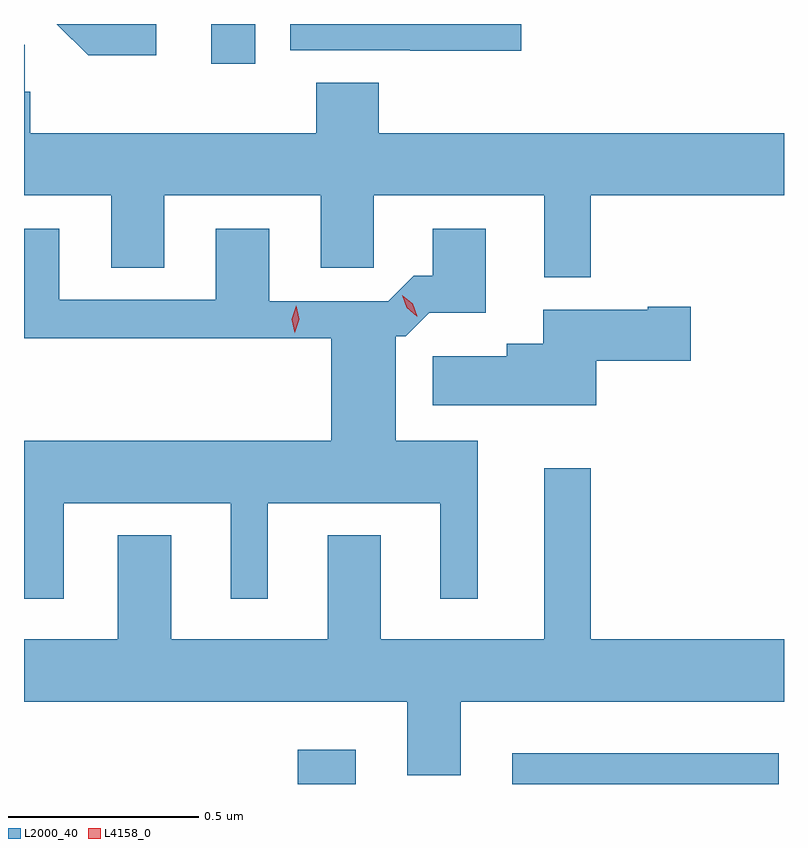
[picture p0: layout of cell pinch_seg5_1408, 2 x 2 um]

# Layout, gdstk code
import gdstk
lib = gdstk.Library(unit=1e-6, precision=1e-09)
def R(c, l, rs):  # rectangles x0, y0, x1, y1
    for r in rs: c.add(gdstk.rectangle(r[:2], r[2:], *l))
def P(c, l, *ps):  # polygons
    for p in ps: c.add(gdstk.Polygon(p, *l))
L2000_40 = (2000, 40)
L4158_0 = (4158, 0)

pinch_seg5_1408 = lib.new_cell('pinch_seg5_1408')
R(pinch_seg5_1408, L2000_40, [(339.857,892.507,340.009,892.597), (340.421,892.507,341.122,892.588), (339.629,894.402,339.744,894.507)])
P(pinch_seg5_1408, L2000_40, [(340.445,894.507),(339.837,894.507),(339.837,894.438),(340.153,894.438),(340.153,894.437),(340.445,894.437)],
  [(339.484,894.507),(339.222,894.507),(339.305,894.425),(339.484,894.425)],
  [(340.627,894.056),(341.136,894.056),(341.136,894.22),(340.07,894.22),(340.07,894.353),(339.905,894.353),(339.905,894.22),(339.152,894.22),(339.152,894.329),(339.138,894.329),(339.138,894.452),(339.136,894.452),(339.136,894.056),(339.365,894.056),(339.365,893.866),(339.505,893.866),(339.505,894.056),(339.917,894.056),(339.917,893.866),(340.056,893.866),(340.056,894.056),(340.505,894.056),(340.505,893.84),(340.627,893.84)],
  [(339.241,893.246),(339.68,893.246),(339.68,892.995),(339.778,892.995),(339.778,893.246),(340.232,893.246),(340.232,892.995),(340.33,892.995),(340.33,893.41),(340.114,893.41),(340.114,893.685),(340.14,893.685),(340.202,893.747),(340.351,893.747),(340.351,893.968),(340.211,893.968),(340.211,893.845),(340.162,893.845),(340.095,893.778),(339.781,893.778),(339.781,893.968),(339.641,893.968),(339.641,893.781),(339.229,893.781),(339.229,893.968),(339.136,893.968),(339.136,893.68),(339.944,893.68),(339.944,893.41),(339.136,893.41),(339.136,892.995),(339.241,892.995)],
  [(340.642,893.621),(340.891,893.621),(340.891,893.763),(340.778,893.763),(340.778,893.755),(340.502,893.755),(340.502,893.665),(340.406,893.665),(340.406,893.633),(340.212,893.633),(340.212,893.504),(340.642,893.504)],
  [(340.285,892.724),(341.136,892.724),(341.136,892.888),(340.627,892.888),(340.627,893.338),(340.505,893.338),(340.505,892.888),(340.075,892.888),(340.075,893.161),(339.935,893.161),(339.935,892.888),(339.523,892.888),(339.523,893.161),(339.383,893.161),(339.383,892.888),(339.136,892.888),(339.136,892.724),(340.145,892.724),(340.145,892.53),(340.285,892.53)])
P(pinch_seg5_1408, L4158_0, [(340.17,893.738),(340.143,893.76),(340.131,893.793),(340.131,893.793),(340.131,893.793),(340.159,893.771),(340.171,893.738),(340.171,893.738)],
  [(339.848,893.694),(339.848,893.694),(339.84,893.73),(339.852,893.766),(339.852,893.766),(339.852,893.766),(339.86,893.73),(339.849,893.694)])

lib.write_gds('pinch_seg5_1408.gds')
